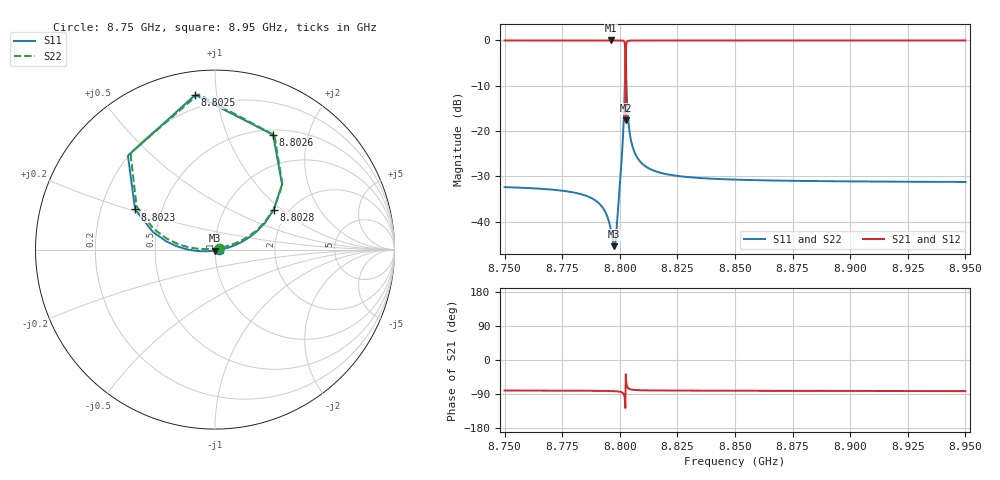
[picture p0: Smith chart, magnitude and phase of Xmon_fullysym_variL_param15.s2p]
! Sonnet Data File
! From: emgraph Version : 16.52
! From Project: 171117_Xmon_fullysym
! Data is De-embedded
! Data File Written: 11/26/2017 17:14:24
!< HDATE 11/22/2017 16:48:52
!< MDATE 11/23/2017 10:16:42
!< PARAMS
!< Lj = 11.0
!< Gap = 1.0
!< Pwid = 2000.0
!< Airgap = 6.0
!< Width = 10.0
!< Lj1 = 9.3
!< END PARAMS
# GHZ S MA R 50.90000
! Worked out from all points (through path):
!   2001 points, 8.75 GHz to 8.95 GHz, reference 50.9 ohm
!   highest |S21| = 0.00 dB at 8.7962 GHz (marker M1); lowest = -17.6 dB at 8.8025 GHz (marker M2)
!   lowest |S11| = -45.4 dB at 8.7976 GHz (marker M3), VSWR 1.01, Z = 51 - j0.539 ohm
!   |S11| at or under -10 dB: start of sweep to 8.8022 GHz; 8.8029 GHz to end of sweep
!   |S22| runs from -45.1 to -1.2 dB; largest |S21 - S12| = 6.7e-11
!   S11 on the Smith chart (normalised r, x): 8.75 GHz: 1.05, -0.00; 8.8023 GHz: 0.35, +0.21; 8.8025 GHz: 0.12, +0.87; 8.8026 GHz: 0.56, +1.48; 8.8028 GHz: 1.68, +0.88; 8.95 GHz: 1.06, -0.00
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8.75  0.02407 -2.9  0.9997 -80.5  0.9997 -80.5  0.02407 22.0
!< P1 F=8.75 Eeff=(6.44841643 -2.9796e-5) Z0=(50.9085185 1.17018e-4) R=0.0 C=0.0
!< P2 F=8.75 Eeff=(6.44841643 -2.9796e-5) Z0=(50.9085185 1.17018e-4) R=0.0 C=0.0
8.7834  0.02005 -6.2  0.9998 -81.0  0.9998 -81.0  0.02005 24.2
8.792  0.01492 -12.2  0.9999 -81.4  0.9999 -81.4  0.01494 29.6
8.7962  0.007998 -33.9  0.9999 -81.9  0.9999 -81.9  0.008083 50.7
8.7976  0.00537 -79.8  0.9999 -82.3  0.9999 -82.3  0.005573 95.4
8.7984  0.0072 -124.3  0.9998 -82.6  0.9998 -82.6  0.007416 137.7
8.7995  0.01694 -154.8  0.9996 -83.2  0.9996 -83.2  0.01711 166.6
8.8008  0.04844 -169.0  0.998 -85.1  0.998 -85.1  0.04863 176.9
8.8015  0.09968 -175.7  0.9926 -88.0  0.9926 -88.0  0.09994 176.9
8.8023  0.4982 153.3  0.8187 -112.1  0.8187 -112.1  0.4991 151.2
8.8025  0.8688 97.3  0.1314 -76.0  0.1314 -76.0  0.8702 96.2
8.8026  0.717 63.2  0.5804 -37.4  0.5804 -37.4  0.7181 62.5
8.8028  0.3954 34.2  0.8954 -59.1  0.8954 -59.1  0.396 34.5
8.8036  0.1386 14.8  0.9884 -74.4  0.9884 -74.4  0.1388 18.1
8.8044  0.09184 10.5  0.9951 -77.1  0.9951 -77.1  0.09191 16.2
8.8064  0.05835 6.3  0.9981 -79.0  0.9981 -79.0  0.05838 15.9
8.8102  0.04259 3.3  0.999 -80.0  0.999 -80.0  0.0426 16.9
8.8167  0.03521 1.2  0.9994 -80.5  0.9994 -80.5  0.03521 18.0
8.85  0.02913 -1.5  0.9996 -81.1  0.9996 -81.1  0.02913 19.2
8.8834  0.02809 -2.3  0.9996 -81.5  0.9996 -81.5  0.02809 19.3
8.9167  0.02768 -2.9  0.9996 -81.8  0.9996 -81.8  0.02768 19.3
8.95  0.02746 -3.4  0.9996 -82.1  0.9996 -82.1  0.02746 19.1
